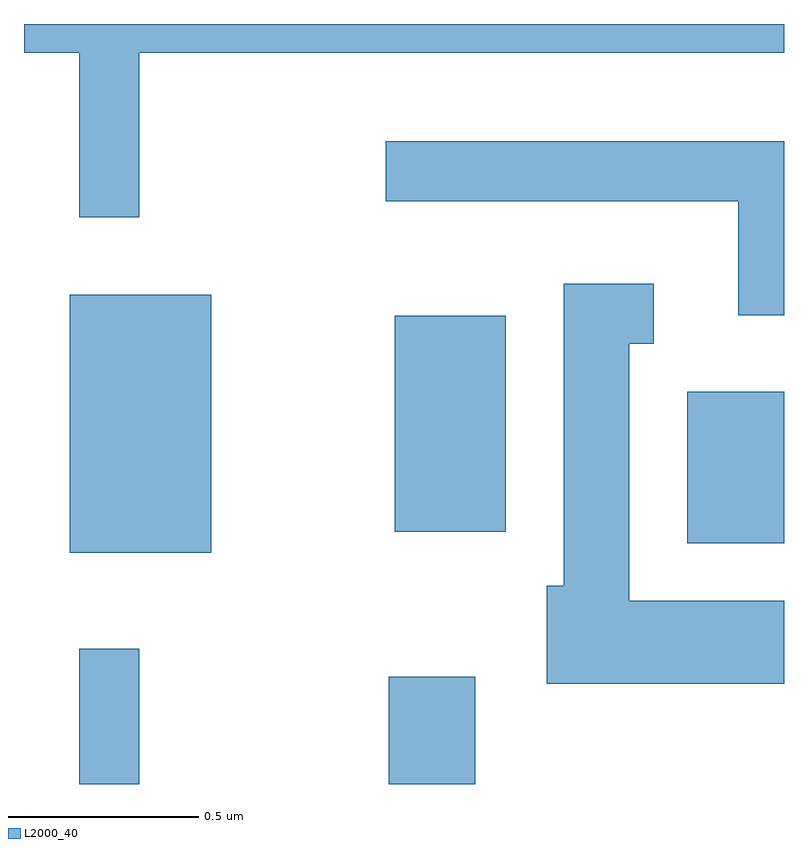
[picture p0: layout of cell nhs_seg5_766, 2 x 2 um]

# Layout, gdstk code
import gdstk
lib = gdstk.Library(unit=1e-6, precision=1e-09)
def R(c, l, rs):  # rectangles x0, y0, x1, y1
    for r in rs: c.add(gdstk.rectangle(r[:2], r[2:], *l))
def P(c, l, *ps):  # polygons
    for p in ps: c.add(gdstk.Polygon(p, *l))
L2000_40 = (2000, 40)

nhs_seg5_766 = lib.new_cell('nhs_seg5_766')
R(nhs_seg5_766, L2000_40, [(190.756,1477.072,190.914,1477.428), (191.571,1477.072,191.799,1477.354), (190.731,1477.681,191.104,1478.359), (192.356,1477.706,192.611,1478.104), (191.586,1477.736,191.879,1478.304)])
P(nhs_seg5_766, L2000_40, [(190.914,1478.996),(192.611,1478.996),(192.611,1479.072),(190.611,1479.072),(190.611,1478.996),(190.756,1478.996),(190.756,1478.563),(190.914,1478.563)],
  [(192.611,1478.764),(191.563,1478.764),(191.563,1478.606),(192.491,1478.606),(192.491,1478.306),(192.611,1478.306)],
  [(192.611,1477.554),(192.204,1477.554),(192.204,1478.231),(192.268,1478.231),(192.268,1478.389),(192.031,1478.389),(192.031,1477.594),(191.986,1477.594),(191.986,1477.336),(192.611,1477.336)])

lib.write_gds('nhs_seg5_766.gds')
